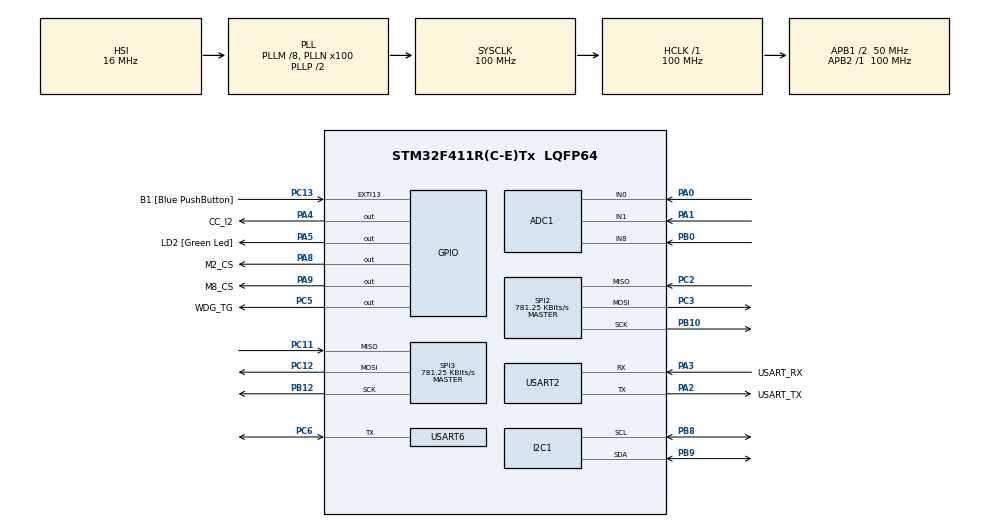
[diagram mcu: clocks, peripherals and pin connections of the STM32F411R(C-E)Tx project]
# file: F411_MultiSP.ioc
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ADC1.Channel-1\#ChannelRegularConversion=ADC_CHANNEL_1
ADC1.Channel-2\#ChannelRegularConversion=ADC_CHANNEL_8
ADC1.ContinuousConvMode=ENABLE
ADC1.DMAContinuousRequests=ENABLE
ADC1.NbrOfConversion=3
ADC1.NbrOfConversionFlag=1
ADC1.Rank-1\#ChannelRegularConversion=2
ADC1.Rank-2\#ChannelRegularConversion=3
ADC1.SamplingTime-0\#ChannelRegularConversion=ADC_SAMPLETIME_144CYCLES
ADC1.SamplingTime-1\#ChannelRegularConversion=ADC_SAMPLETIME_144CYCLES
ADC1.SamplingTime-2\#ChannelRegularConversion=ADC_SAMPLETIME_144CYCLES
ADC1.ScanConvMode=ENABLE
ADC1.master=1
Dma.ADC1.2.Direction=DMA_PERIPH_TO_MEMORY
Dma.ADC1.2.FIFOMode=DMA_FIFOMODE_DISABLE
Dma.ADC1.2.Instance=DMA2_Stream0
Dma.ADC1.2.MemDataAlignment=DMA_MDATAALIGN_HALFWORD
Dma.ADC1.2.MemInc=DMA_MINC_ENABLE
Dma.ADC1.2.Mode=DMA_CIRCULAR
Dma.ADC1.2.PeriphDataAlignment=DMA_PDATAALIGN_HALFWORD
Dma.ADC1.2.PeriphInc=DMA_PINC_DISABLE
Dma.ADC1.2.Priority=DMA_PRIORITY_LOW
Dma.Request0=USART2_RX
Dma.Request1=USART2_TX
Dma.Request2=ADC1
Dma.USART2_RX.0.Direction=DMA_PERIPH_TO_MEMORY
Dma.USART2_RX.0.FIFOMode=DMA_FIFOMODE_DISABLE
Dma.USART2_RX.0.Instance=DMA1_Stream5
Dma.USART2_RX.0.MemDataAlignment=DMA_MDATAALIGN_BYTE
Dma.USART2_RX.0.MemInc=DMA_MINC_ENABLE
Dma.USART2_RX.0.Mode=DMA_NORMAL
Dma.USART2_RX.0.PeriphDataAlignment=DMA_PDATAALIGN_BYTE
Dma.USART2_RX.0.PeriphInc=DMA_PINC_DISABLE
Dma.USART2_RX.0.Priority=DMA_PRIORITY_LOW
Dma.USART2_TX.1.Direction=DMA_MEMORY_TO_PERIPH
Dma.USART2_TX.1.FIFOMode=DMA_FIFOMODE_DISABLE
Dma.USART2_TX.1.Instance=DMA1_Stream6
Dma.USART2_TX.1.MemDataAlignment=DMA_MDATAALIGN_BYTE
Dma.USART2_TX.1.MemInc=DMA_MINC_ENABLE
Dma.USART2_TX.1.Mode=DMA_NORMAL
Dma.USART2_TX.1.PeriphDataAlignment=DMA_PDATAALIGN_BYTE
Dma.USART2_TX.1.PeriphInc=DMA_PINC_DISABLE
Dma.USART2_TX.1.Priority=DMA_PRIORITY_LOW
I2C1.I2C_Mode=I2C_Fast
Mcu.Family=STM32F4
Mcu.Name=STM32F411R(C-E)Tx
Mcu.Package=LQFP64
NVIC.DMA1_Stream5_IRQn=true\:0\:0\:false\:false\:true\:false\:true\:true
NVIC.DMA1_Stream6_IRQn=true\:0\:0\:false\:false\:true\:false\:true\:true
NVIC.DMA2_Stream0_IRQn=true\:0\:0\:false\:false\:true\:false\:true\:true
NVIC.EXTI15_10_IRQn=true\:0\:0\:false\:false\:true\:true\:true\:true
NVIC.PriorityGroup=NVIC_PRIORITYGROUP_0
NVIC.SPI2_IRQn=true\:0\:0\:false\:false\:true\:true\:true\:true
NVIC.SPI3_IRQn=true\:0\:0\:false\:false\:true\:true\:true\:true
NVIC.TIM1_TRG_COM_TIM11_IRQn=true\:0\:0\:false\:false\:true\:true\:true\:true
NVIC.TIM3_IRQn=true\:0\:0\:false\:false\:true\:true\:true\:true
NVIC.USART6_IRQn=true\:0\:0\:false\:false\:true\:true\:true\:true
PA0-WKUP.Signal=ADCx_IN0
PA1.Signal=ADCx_IN1
PA13.GPIO_Label=TMS
PA13.Mode=Serial_Wire
PA13.Signal=SYS_JTMS-SWDIO
PA14.GPIO_Label=TCK
PA14.Mode=Serial_Wire
PA14.Signal=SYS_JTCK-SWCLK
PA2.GPIO_Label=USART_TX
PA2.Mode=Asynchronous
PA2.Signal=USART2_TX
PA3.GPIO_Label=USART_RX
PA3.Mode=Asynchronous
PA3.Signal=USART2_RX
PA4.GPIO_Label=CC_I2
PA4.GPIO_ModeDefaultOutputPP=GPIO_MODE_OUTPUT_OD
PA4.GPIO_PuPd=GPIO_NOPULL
PA4.GPIO_Speed=GPIO_SPEED_FREQ_VERY_HIGH
PA4.Signal=GPIO_Output
PA5.GPIO_Label=LD2 [Green Led]
PA5.Signal=GPIO_Output
PA8.GPIO_Label=M2_CS
PA8.GPIO_Speed=GPIO_SPEED_FREQ_LOW
PA8.PinState=GPIO_PIN_SET
PA8.Signal=GPIO_Output
PA9.GPIO_Label=M8_CS
PA9.PinState=GPIO_PIN_SET
PA9.Signal=GPIO_Output
PB0.Signal=ADCx_IN8
PB10.Mode=Full_Duplex_Master
PB10.Signal=SPI2_SCK
PB12.Mode=Full_Duplex_Master
PB12.Signal=SPI3_SCK
PB3.GPIO_Label=SWO
PB3.Signal=SYS_JTDO-SWO
PB8.Mode=I2C
PB8.Signal=I2C1_SCL
PB9.Mode=I2C
PB9.Signal=I2C1_SDA
PC11.Mode=Full_Duplex_Master
PC11.Signal=SPI3_MISO
PC12.Mode=Full_Duplex_Master
PC12.Signal=SPI3_MOSI
PC13-ANTI_TAMP.GPIO_Label=B1 [Blue PushButton]
PC13-ANTI_TAMP.GPIO_ModeDefaultEXTI=GPIO_MODE_IT_FALLING
PC13-ANTI_TAMP.Signal=GPXTI13
PC14-OSC32_IN.Mode=LSE-External-Oscillator
PC14-OSC32_IN.Signal=RCC_OSC32_IN
PC15-OSC32_OUT.Mode=LSE-External-Oscillator
PC15-OSC32_OUT.Signal=RCC_OSC32_OUT
PC2.Mode=Full_Duplex_Master
PC2.Signal=SPI2_MISO
PC3.Mode=Full_Duplex_Master
PC3.Signal=SPI2_MOSI
PC5.GPIO_Label=WDG_TG
PC5.Signal=GPIO_Output
PC6.Mode=Half_duplex(single_wire_mode)
PC6.Signal=USART6_TX
PH0\ -\ OSC_IN.Mode=HSE-External-Clock-Source
PH0\ -\ OSC_IN.Signal=RCC_OSC_IN
PH1\ -\ OSC_OUT.Mode=HSE-External-Clock-Source
PH1\ -\ OSC_OUT.Signal=RCC_OSC_OUT
ProjectManager.HeapSize=0x200
ProjectManager.StackSize=0x400
ProjectManager.TargetToolchain=STM32CubeIDE
RCC.48MHZClocksFreq_Value=50000000
RCC.AHBFreq_Value=100000000
RCC.APB1CLKDivider=RCC_HCLK_DIV2
RCC.APB1Freq_Value=50000000
RCC.APB1TimFreq_Value=100000000
RCC.APB2Freq_Value=100000000
RCC.APB2TimFreq_Value=100000000
RCC.CortexFreq_Value=100000000
RCC.FLatency-AdvancedSettings=FLASH_LATENCY_3
RCC.HCLKFreq_Value=100000000
RCC.HSE_VALUE=8000000
RCC.HSI_VALUE=16000000
RCC.PLLM=8
RCC.PLLN=100
RCC.SYSCLKFreq_VALUE=100000000
RCC.SYSCLKSource=RCC_SYSCLKSOURCE_PLLCLK
RCC.VCOOutputFreq_Value=200000000
SH.ADCx_IN0.0=ADC1_IN0,IN0
SH.ADCx_IN1.0=ADC1_IN1,IN1
SH.ADCx_IN8.0=ADC1_IN8,IN8
SPI2.BaudRatePrescaler=SPI_BAUDRATEPRESCALER_64
SPI2.CLKPolarity=SPI_POLARITY_LOW
SPI2.CalculateBaudRate=781.25 KBits/s
SPI2.DataSize=SPI_DATASIZE_8BIT
SPI2.Direction=SPI_DIRECTION_2LINES
SPI2.Mode=SPI_MODE_MASTER
SPI2.VirtualType=VM_MASTER
SPI3.BaudRatePrescaler=SPI_BAUDRATEPRESCALER_64
SPI3.CLKPolarity=SPI_POLARITY_LOW
SPI3.CalculateBaudRate=781.25 KBits/s
SPI3.DataSize=SPI_DATASIZE_8BIT
SPI3.Direction=SPI_DIRECTION_2LINES
SPI3.Mode=SPI_MODE_MASTER
SPI3.VirtualType=VM_MASTER
TIM11.Prescaler=99
TIM3.Period=19
TIM3.Prescaler=1
USART2.VirtualMode=VM_ASYNC
USART6.BaudRate=57600
USART6.Parity=PARITY_NONE
USART6.VirtualMode=VM_ASYNC
USART6.WordLength=WORDLENGTH_8B
VP_RTC_VS_RTC_Activate.Mode=RTC_Enabled
VP_TIM11_VS_ClockSourceINT.Mode=Enable_Timer
VP_TIM3_VS_ClockSourceINT.Mode=Internal
board=NUCLEO-F411RE

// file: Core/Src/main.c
/* USER CODE BEGIN Header */
/**
  ******************************************************************************
  * @file           : main.c
  * @brief          : Main program body
  ******************************************************************************
  * @attention
  *
  * Copyright (c) 2022 STMicroelectronics.
  * All rights reserved.
  *
  * This software is licensed under terms that can be found in the LICENSE file
  * in the root directory of this software component.
  * If no LICENSE file comes with this software, it is provided AS-IS.
  *
  ******************************************************************************
  */
/* USER CODE END Header */
#include "main.h"

/* USER CODE BEGIN Includes */
#include "stdio.h"
#include "strings.h"
#include "string.h"
#include "MCP320X.h"
#include "DS_RTC.h"

//#include "personalINFO/persona_2.h"
/* USER CODE END Includes */

/* USER CODE BEGIN PD */

//#define dynamix_WRKS

//#define INA219_WRK
#define EXT_WWDG_TGGR
//#define MCP3002_WRK
//#define MCP3202_8_WRK
#define DS_RTC_WRK
//#define ILI9486_WRK
#define BMI270_wrk
#define ADC_DMA_wrk
#define ConsoUART_ANSI

#define INA219_ADDR 0b10000000
#define INA219_CRNT 0x04

#define BMI270_ADDR 0b1101000 << 1

/* USER CODE END PD */

ADC_HandleTypeDef hadc1;
DMA_HandleTypeDef hdma_adc1;

I2C_HandleTypeDef hi2c1;

RTC_HandleTypeDef hrtc;

SPI_HandleTypeDef hspi2;
SPI_HandleTypeDef hspi3;

TIM_HandleTypeDef htim3;
TIM_HandleTypeDef htim11;

UART_HandleTypeDef huart2;
UART_HandleTypeDef huart6;
DMA_HandleTypeDef hdma_usart2_rx;
DMA_HandleTypeDef hdma_usart2_tx;

/* USER CODE BEGIN PV */
//// ============= UART ================
char TxDataBuffer[32] =
{ 0 };
char RxDataBuffer[32] =
{ 0 };
char UIBuffex[50] =
{ 0 };

char ofcirc_ptrn_txt[] = "\r\n"
" ------------------ OFCIRC ------------------------\r\n"
"    ____   _______ ______       _________   ______ \r\n"
"   / __ \\ |______// ____/ |\\  |\\\\____   /  / ____/ \r\n"
"  | |  | | _____ | |      | | | |   /  /  | |      \r\n"
"  | |  | ||  __/ | |      | | | |  /  /   | |      \r\n"
"  | |__| || |    | |____  | | | |  \\  \\   | |____  \r\n"
"   \\____/ |__\\    \\_____\\  \\|  \\|   \\__\\   \\_____\\ \r\n"
" ===== TRACE TO THE FUTURE | BEYOND THE LIMIT =====   \r\n"
;

char ofcirc_ptrn3L_txt[] = "\r\n"
		" __________________________\r\n"
		"   __  ___  __     ___  __\r\n"
		"  /  \\ __  /    | |  / /  \r\n"
		"  \\__/ |   \\__  | |  \\ \\__\r\n"
		" __________________________\r\n"
;

uint8_t flag_spi2_read = 0;

typedef union _MCP3002_SET{
	struct MCP
	{
		uint16_t bitread :12;
		uint16_t reserv :2; // LSB
		enum _REQFigu{Mm_Diff_01,Mm_Diff_10,Mm_SE_CH0,Mm_SE_CH1} REQFigu :2; // MSB
	}MCP3002_8;
	uint16_t U16;
}MCP3002_SET;

MCP3002_SET MCrq1;
MCP3002_SET MCrq2;
MCP3002_SET MCread1;
MCP3002_SET MCread2;

MCP3202_SET mc2rq1;
MCP3202_SET mc2read1;

MCP3208_SET mc8rq1;
MCP3208_SET mc8read1;

union {
	uint8_t U8[4];
	uint16_t U16[2];
	uint32_t U32;
} MCPSHF = {0};

uint8_t D8x_MOSI[3];
uint8_t D8x_MISO[3];

uint16_t A_bitread = 0;
uint16_t AA_bitread = 0;
float VADC_c = 0.0;
float VADC_cv = 0.0;

////=======================================Dynamix======================================================
//// 0xFF	0xFF Packet ID	Length	Instruction	Param 1	…	Param N	CHKSUM
typedef union _dynamixel_buffer_1p0{
	struct dx{
		uint8_t header1;
		uint8_t header2;
		uint8_t DXL_ID;
		uint8_t d_length;
		enum {Ping = 0x01,read,write,reg_write,action,factory_reset,reboot = 0x08}Instruct;
		uint8_t param[10];
	}dymix;
	uint8_t U8[15];
} dynamix_bf10;
dynamix_bf10 dyna_01;

typedef union _U16Cvt{
	uint16_t U16;
	uint8_t U8[2];
}U16Cvt;

//U16Cvt A_bitreadx;

union {
	uint8_t U8[2];
	uint16_t U16;
} goalpos = {0};

//////// External_RTC /////////////////////////////////////
DS3231_RG_Strc eRTC;
//// INA219 //////////////////////////////////////////////////////////////////////////////////////////
union {
	uint8_t U8[10];
	uint16_t U16[5];
} inabuf = {0};

uint8_t bmi_read[20];

////// ADC DMA ////////////////////
struct _ADCread{
	uint16_t Buf[3];
	uint32_t RawRead[300];
}adcr;

uint8_t flag_dyna = 0;
uint16_t counter = 0;
uint8_t wdg_tig = 0;
uint32_t timestamp_one[5] = {0};
//uint32_t timestamp_two = 0;
//uint32_t timestamp_wdg = 0;
//uint32_t timestamp_ds = 0;
//uint32_t timestamp_dsurt = 0;
uint64_t _micro;

struct _timestamp{
	uint32_t one;
	uint32_t two;

	uint32_t ds;
	uint32_t dsurt;

	uint32_t wdg;

	uint32_t ina;
	uint32_t bmi;
}
timestamp;

/* USER CODE END PV */

void SystemClock_Config(void);
static void MX_GPIO_Init(void);
static void MX_DMA_Init(void);
static void MX_USART2_UART_Init(void);
static void MX_SPI2_Init(void);
static void MX_TIM11_Init(void);
static void MX_USART6_UART_Init(void);
static void MX_SPI3_Init(void);
static void MX_I2C1_Init(void);
static void MX_RTC_Init(void);
static void MX_TIM3_Init(void);
static void MX_ADC1_Init(void);
/* USER CODE BEGIN PFP */
void MCP3002_READ(uint16_t pTrX, uint16_t *pRcX);
void MCP3208_RrEAD(uint8_t *pTrX, uint8_t *pRcX);
//void MCP3208_RwEAD(uint16_t *pTrX, uint16_t *pRcX);
uint16_t MCP3208_READ_8_DataSPI_test(SPI_HandleTypeDef *hspi, MCP3208CHSelect M8_channel);
uint64_t micros();
int16_t UARTRecieveIT();
void dynamix_enable_torque();

void HUART_TX(char *chartex);
void ConsoleUARTPlay();
/* USER CODE END PFP */

int main(void)
{

  /* MCU Configuration--------------------------------------------------------*/

  /* Reset of all peripherals, Initializes the Flash interface and the Systick. */
  HAL_Init();

  /* Configure the system clock */
  SystemClock_Config();

  /* Initialize all configured peripherals */
  MX_GPIO_Init();
  MX_DMA_Init();
  MX_USART2_UART_Init();
  MX_SPI2_Init();
  MX_TIM11_Init();
  MX_USART6_UART_Init();
  MX_SPI3_Init();
  MX_I2C1_Init();
  MX_RTC_Init();
  MX_TIM3_Init();
  MX_ADC1_Init();
  /* USER CODE BEGIN 2 */
  //HAL_TIM_Base_Start_IT(&htim11);
  //HAL_TIM_Base_Start_IT(&htim3);

  MCrq1.MCP3002_8.REQFigu = Mm_Diff_01;
  MCrq2.MCP3002_8.REQFigu = Mm_SE_CH1;

  //mc8rq1.MCP3208_U.CHSlct = M8_CH0;
  mc8rq1.MCP3208_DI_16.CHSlct = M8_CH0;
  //HAL_GPIO_WritePin(SPI2_CS_GPIO_Port, SPI2_CS_Pin, GPIO_PIN_SET);

  	HAL_UART_Transmit(&huart2, (uint8_t*)ofcirc_ptrn_txt, strlen(ofcirc_ptrn_txt), 100);

  	HAL_UART_Transmit(&huart2, (uint8_t*)ofcirc_ptrn3L_txt, strlen(ofcirc_ptrn_txt), 100);

    char temp[]="----------------- F411_MultiSP --------------------\r\n";
    HAL_UART_Transmit(&huart2, (uint8_t*)temp, strlen(temp),10);

    ConsoleUARTPlay();
    HAL_Delay(1000);

#ifdef dynamix_WRKS
  dyna_01.dymix.header1 = 0xff;
  dyna_01.dymix.header2 = 0xff;
  dyna_01.dymix.DXL_ID = 0x03;
  dyna_01.dymix.Instruct = write;

  dynamix_enable_torque();
#endif

#ifdef ILI9486_WRK
  	 ili9486_Init();
     ili9486_DisplayOn();

     ili_scr_1();

     ili9486_FillRect(0, 0, 480, 35, cl_BLUE);
     ili9486_WriteStringNoBG(10, 10, " > PWMon ----->>>-----", Font20, cl_WHITE);
     ili9486_WriteStringNoBG(400, 10, " OWL_HOR ", Font12, cl_WHITE);

     ili9486_WriteStringNoBG(10, 40, " INA219 PWRMon Quick", Font20, cl_OLIVE);
#endif

#ifdef ADC_DMA_wrk
     HAL_ADC_Start_DMA(&hadc1, &adcr.RawRead[0], 300);
#endif
  /* USER CODE END 2 */

  /* Infinite loop */
  while (1)
  {

    /* USER CODE BEGIN 3 */
	  //HAL_UART_Receive_IT(&huart6,  (uint8_t*)RxDataBuffer, 32);

#ifdef ADC_DMA_wrk
     adcr.Buf[0] = adcr.RawRead[0];
     adcr.Buf[1] = adcr.RawRead[1];
     adcr.Buf[2] = adcr.RawRead[2];
#endif

#ifdef DS_RTC_WRK
	  if(HAL_GetTick() >= timestamp.ds ){ ////&& wdg_tig == 0
			  timestamp.ds = HAL_GetTick() + 2;
			  DS3231_Read_v(&hi2c1, &eRTC.D8[0]);
		  }

	  if(HAL_GetTick() >= timestamp.dsurt ){ ////&& wdg_tig == 0
	  		timestamp.dsurt = HAL_GetTick() + 1000 ;

#ifdef ConsoUART_ANSI
     HUART_TX("\x1b[2J \x1b[H"); //clear screen + start head
     HAL_UART_Transmit(&huart2, (uint8_t*)ofcirc_ptrn3L_txt, strlen(ofcirc_ptrn3L_txt), 200); // enough timeout

     sprintf(TxDataBuffer, "Timestamp dsurt : %lu \r\n ", timestamp.dsurt);
     HAL_UART_Transmit(&huart2, (uint8_t*)TxDataBuffer, strlen(TxDataBuffer),10);
#endif

	  		sprintf(TxDataBuffer, "Time - %2X : %2X : %2X\r\n ", eRTC.DS3231RG.hour, eRTC.DS3231RG.min, eRTC.DS3231RG.sec);
	  		HAL_UART_Transmit(&huart2, (uint8_t*)TxDataBuffer, strlen(TxDataBuffer),10);

	  }
#endif

#ifdef EXT_WWDG_TGGR
	  //// External Watchdog
	  if(HAL_GetTick()- timestamp.wdg >= 1400 ){ ////&& wdg_tig == 0
	  		  timestamp.wdg = HAL_GetTick();
	  		  // Toggle edge to watchdog xternal ic
	  		  HAL_GPIO_TogglePin(WDG_TG_GPIO_Port, WDG_TG_Pin);
	  		  HAL_GPIO_TogglePin(LD2_GPIO_Port, LD2_Pin);
	  	  }
#endif

#ifdef MCP3202_8_WRK
	  if(HAL_GetTick() >= timestamp_one[1]){
		  timestamp_one[1] += 500;
		  flag_spi2_read = 1;
	  }

	  if (flag_spi2_read != 0 && hspi3.State == HAL_SPI_STATE_READY && HAL_GPIO_ReadPin(M8_CS_GPIO_Port, M8_CS_Pin) == GPIO_PIN_SET)
		{
		  //MCP3202_READ(&hspi2, mc2rq1.U16, mc2read1.U16);
		  //VADC_cv = (mc2rq1.MCP3202_U.bitread << 1) * 0.00120;

		  //// Shitty bitshift to the correct position Fig 6-1, MCP3208, MICROCHIP
//		  MCPSHF.U8[0] = (0x0000 | mc8rq1.MCP3208_DI_16.CHSlct) >> 2;
//		  MCPSHF.U8[1] = (0x0000 | mc8rq1.MCP3208_DI_16.CHSlct) << 6;
		  //MCP3208_RrEAD(&MCPSHF.U8[0], &mc8read1.U8[0]);

		  //MCP3208_RrEAD(&mc8rq1.U8[0], &mc8read1.U8[0]);  // read work but bitshift uncorrect
		  //MCP3208_RwEAD(&mc8rq1.U16[0], &mc8read1.U16[0]);

		  //uint16_t bitredd = (((mc8read1.U8[1] << 8) + mc8read1.U8[2]) & 0x0FFF); //// for 8 clk
		  //A_bitread = (((mc8read1.U8[0] & 0x0F)<<8) + mc8read1.U8[3]); //// for 16 clk

		  AA_bitread = MCP3208_READ_8_DataSPI(&hspi3, M8_CH0);
		  VADC_cv =  MCP320x_ADCbit_to_Volt(AA_bitread); // 5 / 4096 * 0.00122

		  A_bitread = MCP3202_READ_8_DataSPI(&hspi2, M2_SE_CH0);
		  VADC_c = MCP320x_ADCbit_to_Volt(A_bitread);

		  //// UART Send
		  sprintf(TxDataBuffer, "VADC = %d %.3f _ %d %.3f \r\n ", AA_bitread, (float)VADC_cv, A_bitread, (float)VADC_c); //mc8read1.MCP3208_U.bitread
		  HAL_UART_Transmit(&huart2, (uint8_t*)TxDataBuffer, strlen(TxDataBuffer),10);

		  flag_spi2_read = 0;
		}

#endif

#ifdef MCP3002_WRK
	  ////========SPI MCP3002 ========================================
	  if(HAL_GetTick()- timestamp_one[0] >= 500){
		  timestamp_one[0] = HAL_GetTick();
		  flag_spi2_read = 1;
	  }

	  if (flag_spi2_read != 0 && hspi2.State == HAL_SPI_STATE_READY
							&& HAL_GPIO_ReadPin(M2_CS_GPIO_Port, M2_CS_Pin)
									== GPIO_PIN_SET)
		{

		  counter++;
		  //MCP3002_READ(MCrq1.U16, &MCread1.U16); //&A_bitread
		  if(counter%2==0){
			  MCP3002_READ(MCrq1.U16, &MCread1.U16); //&A_bitread
		  }
		  else{
			  //MCP3002_READ(MCrq1.U16, &MCrq1.U16); //&A_bitread
		  }

		  //// Dout = ( 4096 x Vin )/ VCC
		  //// Dout x VCC / 4096 = Vin
		  //// << 1 to add 1 lost LSB
		  VADC_c = (MCread1.MCP3002_8.bitread << 1) * 0.00120; //// 1/4096 *5 = 5 * 0.000244140625

		  sprintf(TxDataBuffer, "VADC %x \r\n",  MCread1.MCP3002_8.bitread);
		  HAL_UART_Transmit(&huart2, (uint8_t*)TxDataBuffer, strlen(TxDataBuffer),10);

		  flag_spi2_read = 0;
		}
#endif

#ifdef dynamix_WRKS
	  //////========== Dynamixel =======
	  if(HAL_GetTick()- timestamp_dmx >= 500){
			  //// && flag_dyna != 0
		  	  timestamp_dmx = HAL_GetTick();
			  HAL_GPIO_TogglePin(LD2_GPIO_Port, LD2_Pin);

			  goalpos.U16 += 30;
			  //goalpos.U16 = 778;
			  if(goalpos.U16 >= 1020){goalpos.U16 -= 1000;}
			  //uint8_t chksum = 0;
			  uint16_t chksumii = 0;
			  uint8_t dg = 0;

			  static uint8_t ledss = 0;
			  ledss++; ledss%=2;

			  //// LED
			  dyna_01.dymix.param[dg] = 25; dg++; ////-- protoc[4+1]
			  dyna_01.dymix.param[dg] = ledss; dg++; ////-- protoc[4+2]

			  //// Goalpos
			  dyna_01.dymix.param[dg] = 30; dg++; ////-- protoc[4+1]
			  dyna_01.dymix.param[dg] = goalpos.U8[1]; dg++; ////-- protoc[4+2]
			  dyna_01.dymix.param[dg] = goalpos.U8[0]; dg++; ////-- protoc[4+3]

			  dyna_01.dymix.d_length = dg + 2;
 			  //// Checksum = ~( ID + Length + Instruction + Parameter1 + … Parameter N )
			  for(int i = 2; i <= dyna_01.dymix.d_length + 2; i++){
				  chksumii += dyna_01.U8[i];
			  }
			  dyna_01.dymix.param[dg] = ~(chksumii & 0xff) ; dg++;

			  HAL_UART_Transmit_IT(&huart6, &dyna_01.U8[0] , dyna_01.dymix.d_length + 4);
			  //HAL_UART_Receive_IT(&huart6,  (uint8_t*)RxDataBuffer, 32);
			  //flag_dyna--;
	  	  	  }
#endif

#ifdef INA219_WRK
	  if (HAL_GetTick() - timestamp.ina >= 1000){
		  timestamp.ina = HAL_GetTick();
		  uint8_t memaddr = 0x00;

		  HAL_I2C_Mem_Read(&hi2c1, INA219_ADDR, memaddr, I2C_MEMADD_SIZE_8BIT, &inabuf.U8[0], 8, 100);
	  }
#endif

#ifdef BMI270_wrk
	  if (HAL_GetTick() - timestamp.bmi >= 1000){
	  		  timestamp.bmi = HAL_GetTick();

	  		  HAL_I2C_Mem_Read(&hi2c1, BMI270_ADDR, 0x00, I2C_MEMADD_SIZE_8BIT, &bmi_read[0], 18, 100);
	  	  }
#endif
  }
  /* USER CODE END 3 */
}

void SystemClock_Config(void)
{
  RCC_OscInitTypeDef RCC_OscInitStruct = {0};
  RCC_ClkInitTypeDef RCC_ClkInitStruct = {0};

  /** Configure the main internal regulator output voltage
  */
  __HAL_RCC_PWR_CLK_ENABLE();
  __HAL_PWR_VOLTAGESCALING_CONFIG(PWR_REGULATOR_VOLTAGE_SCALE1);

  /** Initializes the RCC Oscillators according to the specified parameters
  * in the RCC_OscInitTypeDef structure.
  */
  RCC_OscInitStruct.OscillatorType = RCC_OSCILLATORTYPE_HSI|RCC_OSCILLATORTYPE_LSI;
  RCC_OscInitStruct.HSIState = RCC_HSI_ON;
  RCC_OscInitStruct.HSICalibrationValue = RCC_HSICALIBRATION_DEFAULT;
  RCC_OscInitStruct.LSIState = RCC_LSI_ON;
  RCC_OscInitStruct.PLL.PLLState = RCC_PLL_ON;
  RCC_OscInitStruct.PLL.PLLSource = RCC_PLLSOURCE_HSI;
  RCC_OscInitStruct.PLL.PLLM = 8;
  RCC_OscInitStruct.PLL.PLLN = 100;
  RCC_OscInitStruct.PLL.PLLP = RCC_PLLP_DIV2;
  RCC_OscInitStruct.PLL.PLLQ = 4;
  if (HAL_RCC_OscConfig(&RCC_OscInitStruct) != HAL_OK)
  {
    Error_Handler();
  }

  /** Initializes the CPU, AHB and APB buses clocks
  */
  RCC_ClkInitStruct.ClockType = RCC_CLOCKTYPE_HCLK|RCC_CLOCKTYPE_SYSCLK
                              |RCC_CLOCKTYPE_PCLK1|RCC_CLOCKTYPE_PCLK2;
  RCC_ClkInitStruct.SYSCLKSource = RCC_SYSCLKSOURCE_PLLCLK;
  RCC_ClkInitStruct.AHBCLKDivider = RCC_SYSCLK_DIV1;
  RCC_ClkInitStruct.APB1CLKDivider = RCC_HCLK_DIV2;
  RCC_ClkInitStruct.APB2CLKDivider = RCC_HCLK_DIV1;

  if (HAL_RCC_ClockConfig(&RCC_ClkInitStruct, FLASH_LATENCY_3) != HAL_OK)
  {
    Error_Handler();
  }
}

static void MX_ADC1_Init(void)
{

  ADC_ChannelConfTypeDef sConfig = {0};

  /** Configure the global features of the ADC (Clock, Resolution, Data Alignment and number of conversion)
  */
  hadc1.Instance = ADC1;
  hadc1.Init.ClockPrescaler = ADC_CLOCK_SYNC_PCLK_DIV4;
  hadc1.Init.Resolution = ADC_RESOLUTION_12B;
  hadc1.Init.ScanConvMode = ENABLE;
  hadc1.Init.ContinuousConvMode = ENABLE;
  hadc1.Init.DiscontinuousConvMode = DISABLE;
  hadc1.Init.ExternalTrigConvEdge = ADC_EXTERNALTRIGCONVEDGE_NONE;
  hadc1.Init.ExternalTrigConv = ADC_SOFTWARE_START;
  hadc1.Init.DataAlign = ADC_DATAALIGN_RIGHT;
  hadc1.Init.NbrOfConversion = 3;
  hadc1.Init.DMAContinuousRequests = ENABLE;
  hadc1.Init.EOCSelection = ADC_EOC_SINGLE_CONV;
  if (HAL_ADC_Init(&hadc1) != HAL_OK)
  {
    Error_Handler();
  }

  /** Configure for the selected ADC regular channel its corresponding rank in the sequencer and its sample time.
  */
  sConfig.Channel = ADC_CHANNEL_0;
  sConfig.Rank = 1;
  sConfig.SamplingTime = ADC_SAMPLETIME_144CYCLES;
  if (HAL_ADC_ConfigChannel(&hadc1, &sConfig) != HAL_OK)
  {
    Error_Handler();
  }

  /** Configure for the selected ADC regular channel its corresponding rank in the sequencer and its sample time.
  */
  sConfig.Channel = ADC_CHANNEL_1;
  sConfig.Rank = 2;
  if (HAL_ADC_ConfigChannel(&hadc1, &sConfig) != HAL_OK)
  {
    Error_Handler();
  }

  /** Configure for the selected ADC regular channel its corresponding rank in the sequencer and its sample time.
  */
  sConfig.Channel = ADC_CHANNEL_8;
  sConfig.Rank = 3;
  if (HAL_ADC_ConfigChannel(&hadc1, &sConfig) != HAL_OK)
  {
    Error_Handler();
  }

}

static void MX_I2C1_Init(void)
{

  hi2c1.Instance = I2C1;
  hi2c1.Init.ClockSpeed = 400000;
  hi2c1.Init.DutyCycle = I2C_DUTYCYCLE_2;
  hi2c1.Init.OwnAddress1 = 0;
  hi2c1.Init.AddressingMode = I2C_ADDRESSINGMODE_7BIT;
  hi2c1.Init.DualAddressMode = I2C_DUALADDRESS_DISABLE;
  hi2c1.Init.OwnAddress2 = 0;
  hi2c1.Init.GeneralCallMode = I2C_GENERALCALL_DISABLE;
  hi2c1.Init.NoStretchMode = I2C_NOSTRETCH_DISABLE;
  if (HAL_I2C_Init(&hi2c1) != HAL_OK)
  {
    Error_Handler();
  }

}

static void MX_RTC_Init(void)
{

  /** Initialize RTC Only
  */
  hrtc.Instance = RTC;
  hrtc.Init.HourFormat = RTC_HOURFORMAT_24;
  hrtc.Init.AsynchPrediv = 127;
  hrtc.Init.SynchPrediv = 255;
  hrtc.Init.OutPut = RTC_OUTPUT_DISABLE;
  hrtc.Init.OutPutPolarity = RTC_OUTPUT_POLARITY_HIGH;
  hrtc.Init.OutPutType = RTC_OUTPUT_TYPE_OPENDRAIN;
  if (HAL_RTC_Init(&hrtc) != HAL_OK)
  {
    Error_Handler();
  }

}

static void MX_SPI2_Init(void)
{

  /* SPI2 parameter configuration*/
  hspi2.Instance = SPI2;
  hspi2.Init.Mode = SPI_MODE_MASTER;
  hspi2.Init.Direction = SPI_DIRECTION_2LINES;
  hspi2.Init.DataSize = SPI_DATASIZE_8BIT;
  hspi2.Init.CLKPolarity = SPI_POLARITY_LOW;
  hspi2.Init.CLKPhase = SPI_PHASE_1EDGE;
  hspi2.Init.NSS = SPI_NSS_SOFT;
  hspi2.Init.BaudRatePrescaler = SPI_BAUDRATEPRESCALER_64;
  hspi2.Init.FirstBit = SPI_FIRSTBIT_MSB;
  hspi2.Init.TIMode = SPI_TIMODE_DISABLE;
  hspi2.Init.CRCCalculation = SPI_CRCCALCULATION_DISABLE;
  hspi2.Init.CRCPolynomial = 10;
  if (HAL_SPI_Init(&hspi2) != HAL_OK)
  {
    Error_Handler();
  }

}

static void MX_SPI3_Init(void)
{

  /* SPI3 parameter configuration*/
  hspi3.Instance = SPI3;
  hspi3.Init.Mode = SPI_MODE_MASTER;
  hspi3.Init.Direction = SPI_DIRECTION_2LINES;
  hspi3.Init.DataSize = SPI_DATASIZE_8BIT;
  hspi3.Init.CLKPolarity = SPI_POLARITY_LOW;
  hspi3.Init.CLKPhase = SPI_PHASE_1EDGE;
  hspi3.Init.NSS = SPI_NSS_SOFT;
  hspi3.Init.BaudRatePrescaler = SPI_BAUDRATEPRESCALER_64;
  hspi3.Init.FirstBit = SPI_FIRSTBIT_MSB;
  hspi3.Init.TIMode = SPI_TIMODE_DISABLE;
  hspi3.Init.CRCCalculation = SPI_CRCCALCULATION_DISABLE;
  hspi3.Init.CRCPolynomial = 10;
  if (HAL_SPI_Init(&hspi3) != HAL_OK)
  {
    Error_Handler();
  }

}

static void MX_TIM3_Init(void)
{

  TIM_ClockConfigTypeDef sClockSourceConfig = {0};
  TIM_MasterConfigTypeDef sMasterConfig = {0};

  htim3.Instance = TIM3;
  htim3.Init.Prescaler = 1;
  htim3.Init.CounterMode = TIM_COUNTERMODE_UP;
  htim3.Init.Period = 19;
  htim3.Init.ClockDivision = TIM_CLOCKDIVISION_DIV1;
  htim3.Init.AutoReloadPreload = TIM_AUTORELOAD_PRELOAD_DISABLE;
  if (HAL_TIM_Base_Init(&htim3) != HAL_OK)
  {
    Error_Handler();
  }
  sClockSourceConfig.ClockSource = TIM_CLOCKSOURCE_INTERNAL;
  if (HAL_TIM_ConfigClockSource(&htim3, &sClockSourceConfig) != HAL_OK)
  {
    Error_Handler();
  }
  sMasterConfig.MasterOutputTrigger = TIM_TRGO_RESET;
  sMasterConfig.MasterSlaveMode = TIM_MASTERSLAVEMODE_DISABLE;
  if (HAL_TIMEx_MasterConfigSynchronization(&htim3, &sMasterConfig) != HAL_OK)
  {
    Error_Handler();
  }

}

static void MX_TIM11_Init(void)
{

  htim11.Instance = TIM11;
  htim11.Init.Prescaler = 99;
  htim11.Init.CounterMode = TIM_COUNTERMODE_UP;
  htim11.Init.Period = 65535;
  htim11.Init.ClockDivision = TIM_CLOCKDIVISION_DIV1;
  htim11.Init.AutoReloadPreload = TIM_AUTORELOAD_PRELOAD_DISABLE;
  if (HAL_TIM_Base_Init(&htim11) != HAL_OK)
  {
    Error_Handler();
  }

}

static void MX_USART2_UART_Init(void)
{

  huart2.Instance = USART2;
  huart2.Init.BaudRate = 115200;
  huart2.Init.WordLength = UART_WORDLENGTH_8B;
  huart2.Init.StopBits = UART_STOPBITS_1;
  huart2.Init.Parity = UART_PARITY_NONE;
  huart2.Init.Mode = UART_MODE_TX_RX;
  huart2.Init.HwFlowCtl = UART_HWCONTROL_NONE;
  huart2.Init.OverSampling = UART_OVERSAMPLING_16;
  if (HAL_UART_Init(&huart2) != HAL_OK)
  {
    Error_Handler();
  }

}

static void MX_USART6_UART_Init(void)
{

  huart6.Instance = USART6;
  huart6.Init.BaudRate = 57600;
  huart6.Init.WordLength = UART_WORDLENGTH_8B;
  huart6.Init.StopBits = UART_STOPBITS_1;
  huart6.Init.Parity = UART_PARITY_NONE;
  huart6.Init.Mode = UART_MODE_TX_RX;
  huart6.Init.HwFlowCtl = UART_HWCONTROL_NONE;
  huart6.Init.OverSampling = UART_OVERSAMPLING_16;
  if (HAL_HalfDuplex_Init(&huart6) != HAL_OK)
  {
    Error_Handler();
  }

}

static void MX_DMA_Init(void)
{

  /* DMA controller clock enable */
  __HAL_RCC_DMA1_CLK_ENABLE();
  __HAL_RCC_DMA2_CLK_ENABLE();

  /* DMA interrupt init */
  /* DMA1_Stream5_IRQn interrupt configuration */
  HAL_NVIC_SetPriority(DMA1_Stream5_IRQn, 0, 0);
  HAL_NVIC_EnableIRQ(DMA1_Stream5_IRQn);
  /* DMA1_Stream6_IRQn interrupt configuration */
  HAL_NVIC_SetPriority(DMA1_Stream6_IRQn, 0, 0);
  HAL_NVIC_EnableIRQ(DMA1_Stream6_IRQn);
  /* DMA2_Stream0_IRQn interrupt configuration */
  HAL_NVIC_SetPriority(DMA2_Stream0_IRQn, 0, 0);
  HAL_NVIC_EnableIRQ(DMA2_Stream0_IRQn);

}

static void MX_GPIO_Init(void)
{
  GPIO_InitTypeDef GPIO_InitStruct = {0};

  /* GPIO Ports Clock Enable */
  __HAL_RCC_GPIOC_CLK_ENABLE();
  __HAL_RCC_GPIOH_CLK_ENABLE();
  __HAL_RCC_GPIOA_CLK_ENABLE();
  __HAL_RCC_GPIOB_CLK_ENABLE();

  /*Configure GPIO pin Output Level */
  HAL_GPIO_WritePin(GPIOA, CC_I2_Pin|LD2_Pin, GPIO_PIN_RESET);

  /*Configure GPIO pin Output Level */
  HAL_GPIO_WritePin(WDG_TG_GPIO_Port, WDG_TG_Pin, GPIO_PIN_RESET);

  /*Configure GPIO pin Output Level */
  HAL_GPIO_WritePin(GPIOA, M2_CS_Pin|M8_CS_Pin, GPIO_PIN_SET);

  /*Configure GPIO pin : B1_Pin */
  GPIO_InitStruct.Pin = B1_Pin;
  GPIO_InitStruct.Mode = GPIO_MODE_IT_FALLING;
  GPIO_InitStruct.Pull = GPIO_NOPULL;
  HAL_GPIO_Init(B1_GPIO_Port, &GPIO_InitStruct);

  /*Configure GPIO pin : CC_I2_Pin */
  GPIO_InitStruct.Pin = CC_I2_Pin;
  GPIO_InitStruct.Mode = GPIO_MODE_OUTPUT_OD;
  GPIO_InitStruct.Pull = GPIO_NOPULL;
  GPIO_InitStruct.Speed = GPIO_SPEED_FREQ_VERY_HIGH;
  HAL_GPIO_Init(CC_I2_GPIO_Port, &GPIO_InitStruct);

  /*Configure GPIO pins : LD2_Pin M2_CS_Pin M8_CS_Pin */
  GPIO_InitStruct.Pin = LD2_Pin|M2_CS_Pin|M8_CS_Pin;
  GPIO_InitStruct.Mode = GPIO_MODE_OUTPUT_PP;
  GPIO_InitStruct.Pull = GPIO_NOPULL;
  GPIO_InitStruct.Speed = GPIO_SPEED_FREQ_LOW;
  HAL_GPIO_Init(GPIOA, &GPIO_InitStruct);

  /*Configure GPIO pin : WDG_TG_Pin */
  GPIO_InitStruct.Pin = WDG_TG_Pin;
  GPIO_InitStruct.Mode = GPIO_MODE_OUTPUT_PP;
  GPIO_InitStruct.Pull = GPIO_NOPULL;
  GPIO_InitStruct.Speed = GPIO_SPEED_FREQ_LOW;
  HAL_GPIO_Init(WDG_TG_GPIO_Port, &GPIO_InitStruct);

  /* EXTI interrupt init*/
  HAL_NVIC_SetPriority(EXTI15_10_IRQn, 0, 0);
  HAL_NVIC_EnableIRQ(EXTI15_10_IRQn);

}

/* USER CODE BEGIN 4 */
void dynamix_enable_torque(){
	//// enable torque
		uint8_t dg = 0;
		uint16_t chksumii = 0;
		U16Cvt movspeed, torque_lim;
		movspeed.U16 = 1000;
		torque_lim.U16 = 1023;
	//// enable torque
	  dyna_01.dymix.param[dg] = 24; dg++; ////-- protoc[4+1]
	  dyna_01.dymix.param[dg] = 1; dg++; ////-- protoc[4+2]

	  dyna_01.dymix.param[dg] = 26; dg++; ////-- protoc[4+1]
	  dyna_01.dymix.param[dg] = 1; dg++; ////-- protoc[4+2]

	  dyna_01.dymix.param[dg] = 27; dg++; ////-- protoc[4+1]
	  dyna_01.dymix.param[dg] = 1; dg++; ////-- protoc[4+2]

	  dyna_01.dymix.param[dg] = 28; dg++; ////-- protoc[4+1]
	  dyna_01.dymix.param[dg] = 32; dg++; ////-- protoc[4+2]

	  dyna_01.dymix.param[dg] = 29; dg++; ////-- protoc[4+1]
	  dyna_01.dymix.param[dg] = 32; dg++; ////-- protoc[4+2]

	  //// Moving speed
	  dyna_01.dymix.param[dg] = 32; dg++; ////-- protoc[4+1]
	  dyna_01.dymix.param[dg] = movspeed.U8[1]; dg++; ////-- protoc[4+2]
	  dyna_01.dymix.param[dg] = movspeed.U8[0]; dg++; ////-- protoc[4+2]

	  dyna_01.dymix.param[dg] = 34; dg++; ////-- protoc[4+1]
	  dyna_01.dymix.param[dg] = torque_lim.U8[1]; dg++; ////-- protoc[4+2]
	  dyna_01.dymix.param[dg] = torque_lim.U8[0]; dg++; ////-- protoc[4+2]

	  dyna_01.dymix.d_length = dg + 2;
	  //// Checksum = ~( ID + Length + Instruction + Parameter1 + … Parameter N )
	  //// start at ID[2], length[3], instr[4] , param[5,6,7]
	  for(int i = 2; i <= dyna_01.dymix.d_length + 2; i++){
		  chksumii += dyna_01.U8[i];
	  }
	  dyna_01.dymix.param[dg] = ~(chksumii & 0xff) ; dg++;

	  HAL_UART_Transmit_IT(&huart6, &dyna_01.U8[0] , dyna_01.dymix.d_length + 4);

}

int16_t UARTRecieveIT() // find last update position and return data in that position
{
	static uint32_t dataPos = 0;
	int16_t data=-1; // return -1 if no data
	// xfer size = 32, xfercount will down every time text typed in

	if(huart6.RxXferSize - huart6.RxXferCount!=dataPos) // update when datapos is changed
	{
		data=RxDataBuffer[dataPos];
		dataPos= (dataPos+1) % huart6.RxXferSize; // update and % 32(overflow)
	}
	return data;
}

void MCP3002_READ(uint16_t pTrX, uint16_t *pRcX){

	//uint16_t datain = pTrX; //0b1100000000000000
	HAL_GPIO_WritePin(M2_CS_GPIO_Port, M2_CS_Pin, GPIO_PIN_RESET);
	//HAL_SPI_Transmit_IT(&hspi2, &datain, 1);
	//HAL_SPI_TransmitReceive(&hspi2, pTrX, &pRcX, 1, 100);

	//HAL_SPI_TransmitReceive_IT(&hspi2, &pTrX, pRcX, 1);

	//// Dout = ( 4096 x Vin )/ VCC
	//// Dout x VCC / 4096 = Vin

}

void MCP3208_RrEAD(uint8_t *pTrX, uint8_t *pRcX){

	//uint16_t datain = pTrX; //0b1100000000000000
	HAL_GPIO_WritePin(GPIOA, GPIO_PIN_9, GPIO_PIN_RESET);

	//HAL_SPI_Transmit_IT(&hspi2, &datain, 1);
	//HAL_SPI_TransmitReceive(&hspi2, pTrX, &pRcX, 1, 100);

	//HAL_SPI_TransmitReceive_IT(&hspi3, &pTrX, pRcX, 3);
	HAL_SPI_TransmitReceive_IT(&hspi3, pTrX, pRcX, 3);

	//// Dout = ( 4096 x Vin )/ VCC
	//// Dout x VCC / 4096 = Vin

}

//void MCP3208_RwEAD(uint16_t *pTrX, uint16_t *pRcX){
//
//	//uint16_t datain = pTrX; //0b1100000000000000
//	HAL_GPIO_WritePin(GPIOA, GPIO_PIN_9, GPIO_PIN_RESET);
//
//	//HAL_SPI_Transmit_IT(&hspi2, &datain, 1);
//	//HAL_SPI_TransmitReceive(&hspi2, pTrX, &pRcX, 1, 100);
//
//	HAL_SPI_TransmitReceive_IT(&hspi3, pTrX, pRcX, 2);
//
//
//}

void ConsoleUARTPlay(){

	HUART_TX("\x1b[2J \x1b[H"); // clear screen  + Move Home

	HUART_TX(ofcirc_ptrn3L_txt);

	HUART_TX(" --- ANSI Escape Command --- \r\n");
	HUART_TX("\x1b[01m BOLD \r\n");
	HUART_TX("\x1b[00m");
	HUART_TX("\x1b[03m ITALIC \r\n");
	HUART_TX("\x1b[00m");
	HUART_TX("\x1b[04m UNDERLINE \r\n");
	HUART_TX("\x1b[00m");

	HUART_TX("\x1b[31m RED \r\n");
	HUART_TX("\x1b[32m GREEN \r\n");
	HUART_TX("\x1b[33m YELOW \r\n");
	HUART_TX("\x1b[34m BLUE \r\n");
	HUART_TX("\x1b[35m MAGENTA \r\n");
	HUART_TX("\x1b[36m CYAN \r\n");
	HUART_TX("\x1b[37m WHITE \r\n");
	HUART_TX("");

	HUART_TX("\x1b[00m RESET ANSI--- \r\n");

	HAL_Delay(1000);

	//// clear text in line + start at first pos
	HUART_TX("Starting"); HAL_Delay(600); HUART_TX("\x1b[2K \x1b[0G");
	HUART_TX("Starting ."); HAL_Delay(600); HUART_TX("\x1b[2K \x1b[0G");
	HUART_TX("Starting . ."); HAL_Delay(600); HUART_TX("\x1b[2K \x1b[0G");
	HUART_TX("Starting . . ."); HAL_Delay(600); HUART_TX("\r\n");

	HUART_TX("Ready ?"); HAL_Delay(1000); HUART_TX("\x1b[2K \x1b[0G");
	HUART_TX("Set ---"); HAL_Delay(1000); HUART_TX("\x1b[2K \x1b[0G");
	HUART_TX("GOOO !!!"); HAL_Delay(1000); HUART_TX("\x1b[2K \x1b[0G");

}

void HUART_TX(char *chartex){
	sprintf(TxDataBuffer, chartex);
	HAL_UART_Transmit(&huart2, (uint8_t*)TxDataBuffer, strlen(TxDataBuffer),50);
}

uint16_t MCP3208_READ_8_DataSPI_test(SPI_HandleTypeDef *hspi, MCP3208CHSelect M8_channel){

	//// Shitty bitshift to the correct position Fig 6-1, MCP3208, MICROCHIP

	D8x_MOSI[0] = M8_channel >> 2;
	D8x_MOSI[1] = M8_channel << 6;

	HAL_GPIO_WritePin(GPIOA, GPIO_PIN_9, GPIO_PIN_RESET);

	HAL_SPI_TransmitReceive_IT(hspi, &D8x_MOSI[0], &D8x_MISO[0], 3);

	return ((D8x_MISO[1] << 8) + D8x_MISO[2]) & 0x0FFF;

}

void HAL_SPI_TxRxCpltCallback(SPI_HandleTypeDef *hspi)
{
	if (hspi == &hspi2)
	{
		// set cs back to 1, finished
		HAL_GPIO_WritePin(M2_CS_GPIO_Port, M2_CS_Pin, GPIO_PIN_SET);
	}

//	if (hspi == &hspi3)
//		{
//		// set cs back to 1, finished
//		HAL_GPIO_WritePin(GPIOA, GPIO_PIN_9, GPIO_PIN_SET);
//		}
}

void HAL_GPIO_EXTI_Callback(uint16_t GPIO_Pin){
	if(GPIO_Pin == GPIO_PIN_13){
		//wdg_tig++; // trickey stop watchdog tog
		flag_spi2_read = 1;
		}
}

void HAL_TIM_PeriodElapsedCallback(TIM_HandleTypeDef *htim)
{
	if (htim == &htim11)
	{_micro += 65535;}
	if (htim == &htim3){
		HAL_GPIO_TogglePin(CC_I2_GPIO_Port, CC_I2_Pin);
	}
}
inline uint64_t micros()
{
	return htim11.Instance->CNT + _micro;
}
/* USER CODE END 4 */

void Error_Handler(void)
{
  __disable_irq();
  while (1)
  {
  }
}
